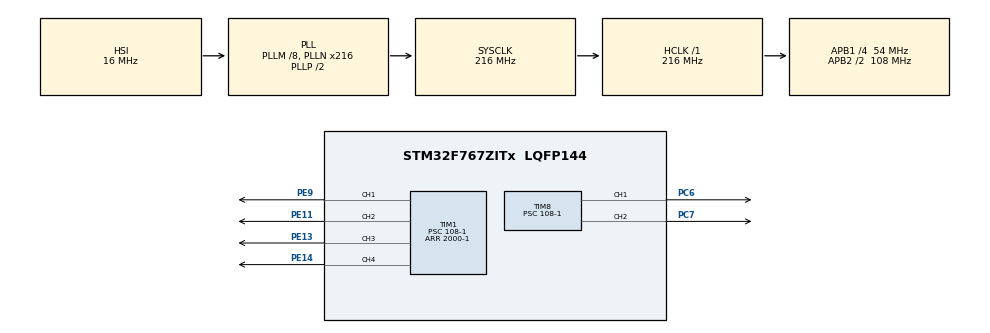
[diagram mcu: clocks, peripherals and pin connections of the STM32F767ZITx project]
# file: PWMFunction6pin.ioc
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Mcu.Family=STM32F7
Mcu.Name=STM32F767ZITx
Mcu.Package=LQFP144
NVIC.PriorityGroup=NVIC_PRIORITYGROUP_4
PC14/OSC32_IN.Mode=LSE-External-Oscillator
PC14/OSC32_IN.Signal=RCC_OSC32_IN
PC15/OSC32_OUT.Mode=LSE-External-Oscillator
PC15/OSC32_OUT.Signal=RCC_OSC32_OUT
PC6.Signal=S_TIM8_CH1
PC7.Signal=S_TIM8_CH2
PE11.Signal=S_TIM1_CH2
PE13.Signal=S_TIM1_CH3
PE14.Signal=S_TIM1_CH4
PE9.Signal=S_TIM1_CH1
PH0/OSC_IN.Mode=HSE-External-Clock-Source
PH0/OSC_IN.Signal=RCC_OSC_IN
PH1/OSC_OUT.Mode=HSE-External-Clock-Source
PH1/OSC_OUT.Signal=RCC_OSC_OUT
ProjectManager.HeapSize=0x200
ProjectManager.StackSize=0x400
ProjectManager.TargetToolchain=MDK-ARM V5.27
RCC.AHBFreq_Value=216000000
RCC.APB1CLKDivider=RCC_HCLK_DIV4
RCC.APB1Freq_Value=54000000
RCC.APB1TimFreq_Value=108000000
RCC.APB2CLKDivider=RCC_HCLK_DIV2
RCC.APB2Freq_Value=108000000
RCC.APB2TimFreq_Value=216000000
RCC.CortexFreq_Value=216000000
RCC.HCLKFreq_Value=216000000
RCC.HSE_VALUE=25000000
RCC.HSI_VALUE=16000000
RCC.PLLM=8
RCC.PLLN=216
RCC.SYSCLKFreq_VALUE=216000000
RCC.SYSCLKSource=RCC_SYSCLKSOURCE_PLLCLK
RCC.USBFreq_Value=216000000
RCC.VCOOutputFreq_Value=432000000
SH.S_TIM1_CH1.0=TIM1_CH1,PWM Generation1 CH1
SH.S_TIM1_CH2.0=TIM1_CH2,PWM Generation2 CH2
SH.S_TIM1_CH3.0=TIM1_CH3,PWM Generation3 CH3
SH.S_TIM1_CH4.0=TIM1_CH4,PWM Generation4 CH4
SH.S_TIM8_CH1.0=TIM8_CH1,PWM Generation1 CH1
SH.S_TIM8_CH2.0=TIM8_CH2,PWM Generation2 CH2
TIM1.Channel-PWM\ Generation1\ CH1=TIM_CHANNEL_1
TIM1.Channel-PWM\ Generation2\ CH2=TIM_CHANNEL_2
TIM1.Channel-PWM\ Generation3\ CH3=TIM_CHANNEL_3
TIM1.Channel-PWM\ Generation4\ CH4=TIM_CHANNEL_4
TIM1.OCIdleState_2=TIM_OCIDLESTATE_RESET
TIM1.OCPolarity_1=TIM_OCPOLARITY_LOW
TIM1.OCPolarity_2=TIM_OCPOLARITY_LOW
TIM1.OCPolarity_3=TIM_OCPOLARITY_LOW
TIM1.OCPolarity_4=TIM_OCPOLARITY_LOW
TIM1.Period=2000-1
TIM1.Prescaler=108-1
TIM8.Channel-PWM\ Generation1\ CH1=TIM_CHANNEL_1
TIM8.Channel-PWM\ Generation2\ CH2=TIM_CHANNEL_2
TIM8.OCPolarity_1=TIM_OCPOLARITY_LOW
TIM8.OCPolarity_2=TIM_OCPOLARITY_LOW
TIM8.Period=2000-1
TIM8.Prescaler=108-1
VP_TIM1_VS_ClockSourceINT.Mode=Internal
VP_TIM8_VS_ClockSourceINT.Mode=Internal
board=custom

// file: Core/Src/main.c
/* USER CODE BEGIN Header */
/**
  ******************************************************************************
  * @file           : main.c
  * @brief          : Main program body
  ******************************************************************************
  * @attention
  *
  * <h2><center>&copy; Copyright (c) 2021 STMicroelectronics.
  * All rights reserved.</center></h2>
  *
  * This software component is licensed by ST under BSD 3-Clause license,
  * the "License"; You may not use this file except in compliance with the
  * License. You may obtain a copy of the License at:
  *                        opensource.org/licenses/BSD-3-Clause
  *
  ******************************************************************************
  */
/* USER CODE END Header */
#include "main.h"
#include "tim.h"
#include "gpio.h"

void SystemClock_Config(void);

int main(void)
{

  /* MCU Configuration--------------------------------------------------------*/

  /* Reset of all peripherals, Initializes the Flash interface and the Systick. */
  HAL_Init();

  /* Configure the system clock */
  SystemClock_Config();

  /* Initialize all configured peripherals */
  MX_GPIO_Init();
  MX_TIM1_Init();
  MX_TIM8_Init();
  /* USER CODE BEGIN 2 */

	int ducty_TIM1_CH1 = 50;
	int ducty_TIM1_CH2 = 80;
	int ducty_TIM1_CH3 = 10;
	int ducty_TIM1_CH4 = 0;
	int ducty_TIM8_CH1 = 30;
	int ducty_TIM8_CH2 = 100;

	//htim1.Instance->CCR1 = ((ducty_TIM1_CH1)*100)/(htim1.Instance->ARR+1);
	htim1.Instance->CCR1 = ((ducty_TIM1_CH1)*(htim1.Instance->ARR+1))/100;
	htim1.Instance->CCR2 = ((ducty_TIM1_CH2)*(htim1.Instance->ARR+1))/100;
	htim1.Instance->CCR3 = ((ducty_TIM1_CH3)*(htim1.Instance->ARR+1))/100;
	htim1.Instance->CCR4 = ((ducty_TIM1_CH4)*(htim1.Instance->ARR+1))/100;
	htim8.Instance->CCR1 = ((ducty_TIM8_CH1)*(htim1.Instance->ARR+1))/100;
	htim8.Instance->CCR2 = ((ducty_TIM8_CH2)*(htim1.Instance->ARR+1))/100;

	HAL_TIM_PWM_Start(&htim1,TIM_CHANNEL_1);
	HAL_TIM_PWM_Start(&htim1,TIM_CHANNEL_2);
	HAL_TIM_PWM_Start(&htim1,TIM_CHANNEL_3);
	HAL_TIM_PWM_Start(&htim1,TIM_CHANNEL_4);
	HAL_TIM_PWM_Start(&htim8,TIM_CHANNEL_1);
	HAL_TIM_PWM_Start(&htim8,TIM_CHANNEL_2);

  /* USER CODE END 2 */

  /* Infinite loop */
  while (1)
  {

  }
}

void SystemClock_Config(void)
{
  RCC_OscInitTypeDef RCC_OscInitStruct = {0};
  RCC_ClkInitTypeDef RCC_ClkInitStruct = {0};

  /** Configure LSE Drive Capability
  */
  HAL_PWR_EnableBkUpAccess();
  /** Configure the main internal regulator output voltage
  */
  __HAL_RCC_PWR_CLK_ENABLE();
  __HAL_PWR_VOLTAGESCALING_CONFIG(PWR_REGULATOR_VOLTAGE_SCALE1);
  /** Initializes the RCC Oscillators according to the specified parameters
  * in the RCC_OscInitTypeDef structure.
  */
  RCC_OscInitStruct.OscillatorType = RCC_OSCILLATORTYPE_HSI;
  RCC_OscInitStruct.HSIState = RCC_HSI_ON;
  RCC_OscInitStruct.HSICalibrationValue = RCC_HSICALIBRATION_DEFAULT;
  RCC_OscInitStruct.PLL.PLLState = RCC_PLL_ON;
  RCC_OscInitStruct.PLL.PLLSource = RCC_PLLSOURCE_HSI;
  RCC_OscInitStruct.PLL.PLLM = 8;
  RCC_OscInitStruct.PLL.PLLN = 216;
  RCC_OscInitStruct.PLL.PLLP = RCC_PLLP_DIV2;
  RCC_OscInitStruct.PLL.PLLQ = 2;
  if (HAL_RCC_OscConfig(&RCC_OscInitStruct) != HAL_OK)
  {
    Error_Handler();
  }
  /** Activate the Over-Drive mode
  */
  if (HAL_PWREx_EnableOverDrive() != HAL_OK)
  {
    Error_Handler();
  }
  /** Initializes the CPU, AHB and APB buses clocks
  */
  RCC_ClkInitStruct.ClockType = RCC_CLOCKTYPE_HCLK|RCC_CLOCKTYPE_SYSCLK
                              |RCC_CLOCKTYPE_PCLK1|RCC_CLOCKTYPE_PCLK2;
  RCC_ClkInitStruct.SYSCLKSource = RCC_SYSCLKSOURCE_PLLCLK;
  RCC_ClkInitStruct.AHBCLKDivider = RCC_SYSCLK_DIV1;
  RCC_ClkInitStruct.APB1CLKDivider = RCC_HCLK_DIV4;
  RCC_ClkInitStruct.APB2CLKDivider = RCC_HCLK_DIV2;

  if (HAL_RCC_ClockConfig(&RCC_ClkInitStruct, FLASH_LATENCY_7) != HAL_OK)
  {
    Error_Handler();
  }
}

void Error_Handler(void)
{
}

/************************ (C) COPYRIGHT STMicroelectronics *****END OF FILE****/
